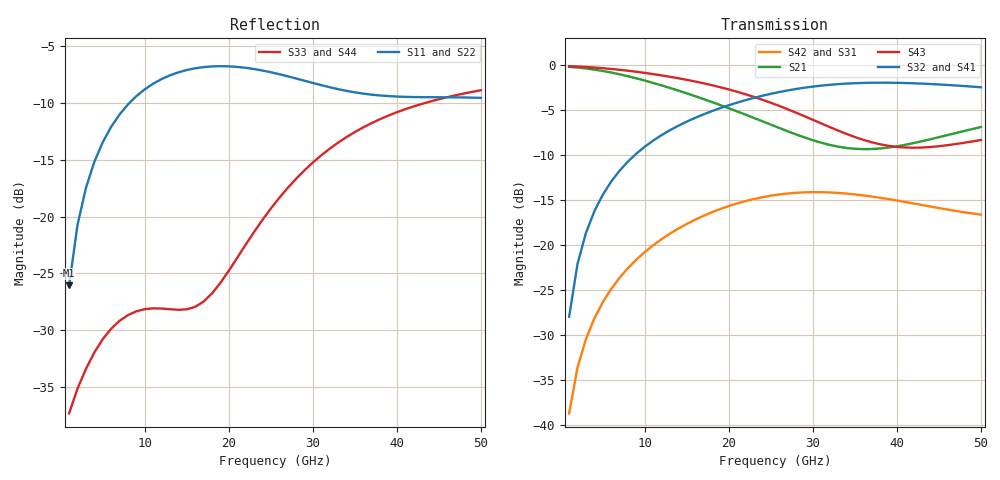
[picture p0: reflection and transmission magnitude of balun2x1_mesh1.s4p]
! Created with skrf 2.1.0 (http://scikit-rf.org).
# GHz S DB R 50.0
! Port[1] = P1
! Port[2] = P2
! Port[3] = P3
! Port[4] = P4
!freq dBS11 angS11 dBS12 angS12 dBS13 angS13
! dBS14 angS14
! dBS21 angS21 dBS22 angS22 dBS23 angS23
! dBS24 angS24
! dBS31 angS31 dBS32 angS32 dBS33 angS33
! dBS34 angS34
! dBS41 angS41 dBS42 angS42 dBS43 angS43
! dBS44 angS44
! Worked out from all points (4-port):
!   50 points, 1 GHz to 50 GHz, reference 50 ohm
!   strongest paths, dB at 1 GHz, 13 GHz, 26 GHz, 38 GHz, 50 GHz:
!     S32: -27.9, -7.2, -3.0, -2.0, -2.5
!     S41: -27.9, -7.2, -3.0, -2.0, -2.5
!     S43: -0.1, -1.3, -4.5, -8.8, -8.3
!     S21: -0.2, -2.5, -7.0, -9.3, -6.9
!     S42: -38.7, -18.7, -14.4, -14.7, -16.6
!     S31: -38.7, -18.8, -14.5, -14.9, -16.8
!   lowest |S11| = -26.1 dB at 1 GHz (marker M1), VSWR 1.10, Z = 52 + j4.69 ohm
!   |S11| at or under -10 dB: start of sweep to 8.168 GHz
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1  -26.06 64.8  -0.19 -5.3  -38.68 -108.9  -27.95 84.4
   -0.19 -5.3  -26.06 64.7  -27.95 84.4  -38.67 -109.0
   -38.68 -108.9  -27.95 84.4  -37.33 25.0  -0.12 -2.6
   -27.95 84.4  -38.67 -109.0  -0.12 -2.6  -37.33 25.0
3  -17.48 66.0  -0.37 -14.9  -30.44 -125.0  -18.64 77.3
   -0.37 -14.9  -17.48 65.8  -18.65 77.3  -30.43 -125.2
   -30.44 -125.0  -18.65 77.3  -33.42 32.6  -0.21 -7.3
   -18.64 77.3  -30.43 -125.2  -0.21 -7.3  -33.41 32.5
5  -13.45 58.4  -0.65 -24.3  -26.36 -141.2  -14.40 69.9
   -0.65 -24.3  -13.46 58.2  -14.41 69.9  -26.34 -141.5
   -26.36 -141.2  -14.41 69.9  -30.80 28.6  -0.34 -11.9
   -14.40 69.9  -26.34 -141.5  -0.34 -11.9  -30.80 28.3
16  -6.94 13.3  -3.45 -72.8  -17.23 135.1  -5.86 34.8
    -3.45 -72.8  -6.96 12.6  -5.86 34.8  -17.17 134.2
    -17.23 135.1  -5.86 34.8  -27.95 -70.6  -1.82 -34.7
    -5.86 34.8  -17.17 134.2  -1.82 -34.7  -27.83 -71.7
25  -7.29 -12.9  -6.61 -117.5  -14.63 79.6  -3.20 9.4
    -6.61 -117.5  -7.38 -14.2  -3.19 9.3  -14.51 78.2
    -14.63 79.6  -3.19 9.3  -19.30 -171.9  -4.18 -49.7
    -3.20 9.4  -14.51 78.2  -4.18 -49.7  -19.11 -172.1
32  -8.60 -23.0  -8.86 -163.9  -14.31 43.9  -2.21 -10.4
    -8.86 -163.9  -8.81 -24.6  -2.19 -10.6  -14.14 42.0
    -14.31 43.9  -2.19 -10.6  -14.03 148.0  -6.88 -53.3
    -2.21 -10.4  -14.14 42.0  -6.88 -53.3  -13.86 147.8
50  -9.54 -35.9  -6.88 90.0  -16.77 -7.3  -2.50 -53.4
    -6.88 90.0  -9.88 -36.3  -2.46 -53.9  -16.60 -11.6
    -16.77 -7.3  -2.46 -53.9  -8.87 89.1  -8.32 -30.1
    -2.50 -53.4  -16.60 -11.6  -8.32 -30.1  -8.71 88.6
